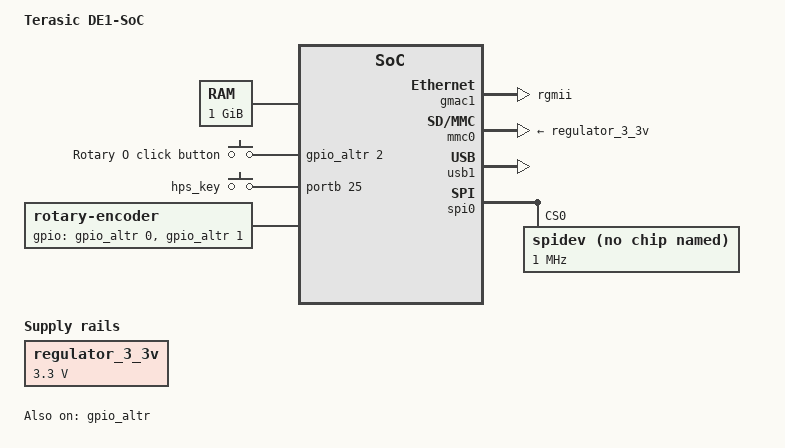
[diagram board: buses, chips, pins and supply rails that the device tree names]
// SPDX-License-Identifier: GPL-2.0+
/*
 * Copyright (C) 2013 Steffen Trumtrar <s.trumtrar@pengutronix.de>
 */

#include <dt-bindings/gpio/gpio.h>
#include <dt-bindings/interrupt-controller/irq.h>
#include "socfpga_cyclone5.dtsi"

/ {
	model = "Terasic DE1-SoC";
	compatible = "terasic,socfpga-cyclone5-sockit", "altr,socfpga-cyclone5", "altr,socfpga";

	chosen {
		bootargs = "earlyprintk";
		stdout-path = "serial0:115200n8";
	};

	memory@0 {
		name = "memory";
		device_type = "memory";
		reg = <0x0 0x40000000>; /* 1GB */
	};

	aliases {
		/* this allow the ethaddr uboot environmnet variable contents
		 * to be added to the gmac1 device tree blob.
		 */
		ethernet0 = &gmac1;
	};

	soc {
		status = "okay";

		gpio_altr: gpio@ff200000 {
			compatible = "altr,pio-1.0";
			reg = <0xff200000 0x10>;
			#gpio-cells = <2>;
			gpio-controller;
			altr,ngpio = <16>;		
        		interrupts = <0 40 3>;
                	altr,interrupt-type = <IRQ_TYPE_EDGE_BOTH>;
        		#interrupt-cells = <2>;
        		interrupt-controller;
			status = "okay";
		};
	};

	gpio-keys {
		compatible = "gpio-keys";

		button_click {
			label = "Rotary O click button";
			gpios = <&gpio_altr 2 0>;
			linux,code = <17>;
			status = "okay";
		};

		hps_key {
			label = "hps_key";
			gpios = <&portb 25 0>;	/* HPS_GPIO54 */
			linux,code = <16>;	/* Q */
		};

	};

	regulator_3_3v: regulator {
		compatible = "regulator-fixed";
		regulator-name = "VCC3P3";
		regulator-min-microvolt = <3300000>;
		regulator-max-microvolt = <3300000>;
	};

    	rotary-encoder {
        	compatible = "rotary-encoder";
		gpios = <&gpio_altr 0 GPIO_ACTIVE_HIGH>,
			<&gpio_altr 1 GPIO_ACTIVE_HIGH>;

		linux,axis = <0>;
		rotary-encoder,encoding = "gray";
		rotary-encoder,relative-axis;
		status = "okay";
		rotary-encoder,steps-per-period = <2>;
		// debounce-interval = <5>;
    	};
};

&fpga_bridge0 {
	status = "okay";
};

&gmac1 {
	status = "okay";
	phy-mode = "rgmii";

	rxd0-skew-ps = <0>;
	rxd1-skew-ps = <0>;
	rxd2-skew-ps = <0>;
	rxd3-skew-ps = <0>;
	txen-skew-ps = <0>;
	txc-skew-ps = <2600>;
	rxdv-skew-ps = <0>;
	rxc-skew-ps = <2000>;
};

&gpio0 {	/* GPIO 0..29 */
	status = "okay";
};

&gpio1 {	/* GPIO 30..57 */
	status = "okay";
};

&gpio2 {	/* GPIO 58..66 (HLGPI 0..13 at offset 13) */
	status = "okay";
};

&mmc0 {
	vmmc-supply = <&regulator_3_3v>;
	vqmmc-supply = <&regulator_3_3v>;
	status = "okay";
};

&usb1 {
	status = "okay";
};

&spi0 {
	status = "okay";
	
	spidev@0 {
		compatible = "rohm,dh2228fv";
		reg = <0>;
		spi-max-frequency = <1000000>;
	};
};
